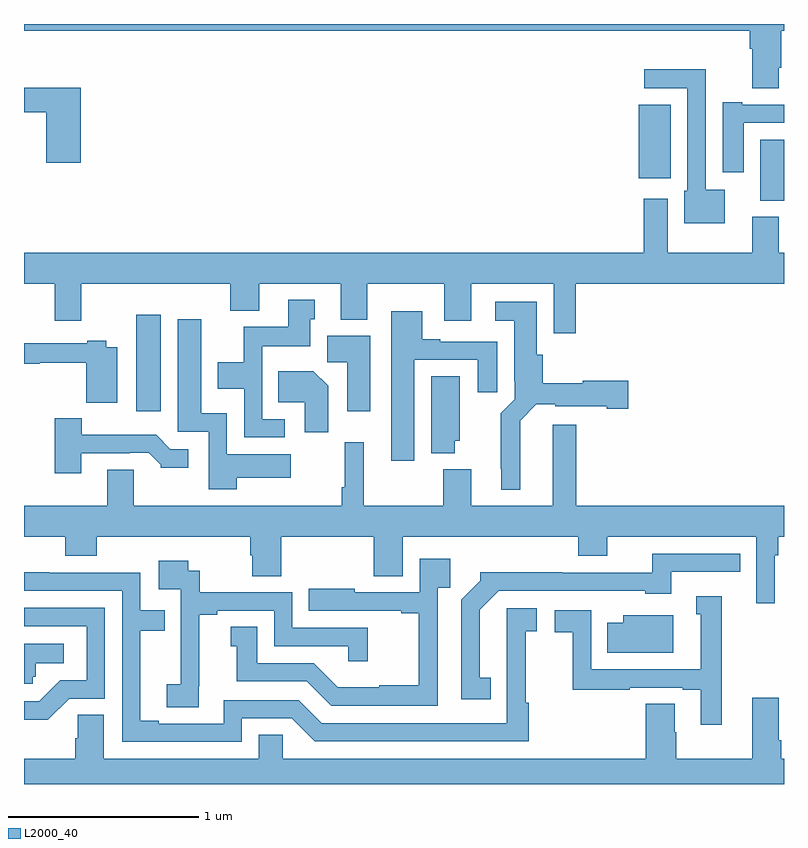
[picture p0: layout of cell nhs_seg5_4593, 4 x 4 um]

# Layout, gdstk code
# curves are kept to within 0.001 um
import gdstk
lib = gdstk.Library(unit=1e-6, precision=1e-09)
def R(c, l, rs):  # rectangles x0, y0, x1, y1
    for r in rs: c.add(gdstk.rectangle(r[:2], r[2:], *l))
def P(c, l, *ps):  # polygons
    for p in ps: c.add(gdstk.Polygon(p, *l))
L2000_40 = (2000, 40)

nhs_seg5_4593 = lib.new_cell('nhs_seg5_4593')
R(nhs_seg5_4593, L2000_40, [(381.59,850.761,381.721,851.269), (384.875,851.87,385,852.19), (384.236,851.987,384.403,852.373)])
P(nhs_seg5_4593, L2000_40, [(384.973,852.568),(384.986,852.568),(384.986,852.764),(385,852.764),(385,852.799),(381,852.799),(381,852.764),(384.821,852.764),(384.821,852.668),(384.833,852.668),(384.833,852.46),(384.973,852.46)],
  [(384.688,851.926),(384.588,851.926),(384.588,852.56),(384.264,852.56),(384.264,852.462),(384.492,852.462),(384.492,851.922),(384.476,851.922),(384.476,851.75),(384.688,851.75)],
  [(381.299,852.463),(381,852.463),(381,852.334),(381.116,852.334),(381.116,852.069),(381.299,852.069)],
  [(384.787,852.279),(385,852.279),(385,852.375),(384.781,852.375),(384.781,852.388),(384.677,852.388),(384.677,852.018),(384.787,852.018)],
  [(383.903,851.432),(385,851.432),(385,851.596),(384.973,851.596),(384.973,851.785),(384.833,851.785),(384.833,851.596),(384.388,851.596),(384.388,851.878),(384.263,851.878),(384.263,851.596),(381,851.596),(381,851.432),(381.161,851.432),(381.161,851.238),(381.301,851.238),(381.301,851.432),(382.085,851.432),(382.085,851.291),(382.237,851.291),(382.237,851.432),(382.667,851.432),(382.667,851.243),(382.807,851.243),(382.807,851.432),(383.213,851.432),(383.213,851.238),(383.353,851.238),(383.353,851.432),(383.787,851.432),(383.787,851.172),(383.903,851.172)],
  [(382.372,850.719),(382.254,850.719),(382.254,851.102),(382.507,851.102),(382.507,851.244),(382.531,851.244),(382.531,851.347),(382.391,851.347),(382.391,851.206),(382.156,851.206),(382.156,851.02),(382.019,851.02),(382.019,850.88),(382.158,850.88),(382.158,850.623),(382.372,850.623)],
  [(383.611,850.712),(383.697,850.799),(383.796,850.799),(383.796,850.787),(384.068,850.787),(384.068,850.775),(384.181,850.775),(384.181,850.922),(383.94,850.922),(383.94,850.909),(383.729,850.909),(383.729,851.058),(383.698,851.058),(383.698,851.338),(383.481,851.338),(383.481,851.237),(383.579,851.237),(383.579,850.918),(383.583,850.918),(383.583,850.824),(383.509,850.75),(383.509,850.459),(383.513,850.459),(383.513,850.349),(383.611,850.349)],
  [(383.053,851.031),(383.387,851.031),(383.387,850.86),(383.491,850.86),(383.491,851.127),(383.191,851.127),(383.191,851.14),(383.095,851.14),(383.095,851.287),(382.934,851.287),(382.934,850.5),(383.053,850.5)],
  [(382.121,850.412),(382.405,850.412),(382.405,850.534),(382.068,850.534),(382.068,850.75),(381.934,850.75),(381.934,851.245),(381.809,851.245),(381.809,850.653),(381.972,850.653),(381.972,850.35),(382.121,850.35)],
  [(382.822,851.158),(382.595,851.158),(382.595,851.02),(382.7,851.02),(382.7,850.761),(382.822,850.761)],
  [(381.49,851.098),(381.432,851.098),(381.432,851.131),(381.332,851.131),(381.332,851.118),(381,851.118),(381,851.01),(381.084,851.01),(381.084,851.017),(381.328,851.017),(381.328,850.805),(381.49,850.805)],
  [(382.6,850.894),(382.522,850.972),(382.339,850.972),(382.339,850.808),(382.478,850.808),(382.478,850.65),(382.6,850.65)],
  [(383.266,850.605),(383.293,850.605),(383.293,850.946),(383.144,850.946),(383.144,850.541),(383.266,850.541)],
  [(381.301,850.539),(381.557,850.539),(381.557,850.542),(381.656,850.542),(381.72,850.478),(381.72,850.463),(381.865,850.463),(381.865,850.56),(381.771,850.56),(381.695,850.636),(381.304,850.636),(381.304,850.723),(381.161,850.723),(381.161,850.434),(381.301,850.434)],
  [(383.783,850.69),(383.783,850.264),(383.353,850.264),(383.353,850.456),(383.206,850.456),(383.206,850.264),(382.789,850.264),(382.789,850.597),(382.687,850.597),(382.687,850.36),(382.672,850.36),(382.672,850.264),(381.577,850.264),(381.577,850.454),(381.437,850.454),(381.437,850.264),(381,850.264),(381,850.1),(381.218,850.1),(381.218,850.001),(381.383,850.001),(381.383,850.1),(382.19,850.1),(382.19,850.002),(382.202,850.002),(382.202,849.892),(382.355,849.892),(382.355,850.1),(382.841,850.1),(382.841,849.892),(382.993,849.892),(382.993,850.1),(383.918,850.1),(383.918,850.001),(384.07,850.001),(384.07,850.1),(384.855,850.1),(384.855,849.75),(384.952,849.75),(384.952,850.004),(384.971,850.004),(384.971,850.1),(385,850.1),(385,850.264),(383.906,850.264),(383.906,850.69)],
  [(383.456,849.359),(383.398,849.359),(383.398,849.715),(383.499,849.816),(384.27,849.816),(384.27,849.8),(384.406,849.8),(384.406,849.915),(384.77,849.915),(384.77,850.011),(384.307,850.011),(384.307,849.912),(383.834,849.912),(383.834,849.914),(383.4,849.914),(383.4,849.869),(383.301,849.77),(383.301,849.246),(383.456,849.246)],
  [(383.178,849.833),(383.243,849.833),(383.243,849.985),(383.082,849.985),(383.082,849.807),(382.741,849.807),(382.741,849.826),(382.498,849.826),(382.498,849.711),(382.985,849.711),(382.985,849.699),(383.077,849.699),(383.077,849.319),(382.871,849.319),(382.871,849.307),(382.652,849.307),(382.524,849.435),(382.228,849.435),(382.228,849.626),(382.088,849.626),(382.088,849.523),(382.121,849.523),(382.121,849.339),(382.488,849.339),(382.617,849.21),(383.178,849.21)],
  [(381.92,849.313),(381.922,849.313),(381.922,849.691),(382.018,849.691),(382.018,849.711),(382.317,849.711),(382.317,849.525),(382.707,849.525),(382.707,849.444),(382.808,849.444),(382.808,849.621),(382.413,849.621),(382.413,849.807),(381.926,849.807),(381.926,849.921),(381.864,849.921),(381.864,849.973),(381.708,849.973),(381.708,849.825),(381.825,849.825),(381.825,849.521),(381.824,849.521),(381.824,849.324),(381.75,849.324),(381.75,849.202),(381.92,849.202)],
  [(382.146,849.144),(382.41,849.144),(382.53,849.024),(383.657,849.024),(383.657,849.227),(383.64,849.227),(383.64,849.603),(383.698,849.603),(383.698,849.724),(383.54,849.724),(383.541,849.12),(382.566,849.12),(382.446,849.24),(382.05,849.24),(382.05,849.117),(381.709,849.117),(381.709,849.132),(381.613,849.132),(381.613,849.606),(381.74,849.606),(381.74,849.714),(381.612,849.714),(381.612,849.912),(381.134,849.912),(381.134,849.914),(381,849.914),(381,849.816),(381.516,849.816),(381.516,849.021),(382.146,849.021)],
  [(384.673,849.787),(384.539,849.787),(384.539,849.693),(384.563,849.693),(384.563,849.402),(383.985,849.402),(383.985,849.714),(383.793,849.714),(383.793,849.598),(383.887,849.598),(383.887,849.294),(384.188,849.294),(384.188,849.306),(384.467,849.306),(384.467,849.294),(384.563,849.294),(384.563,849.111),(384.673,849.111)],
  [(381.237,849.249),(381.426,849.249),(381.426,849.726),(381,849.726),(381,849.63),(381.33,849.63),(381.33,849.345),(381.192,849.345),(381.081,849.234),(381,849.234),(381,849.137),(381.124,849.137)],
  [(384.418,849.688),(384.155,849.688),(384.155,849.649),(384.07,849.649),(384.07,849.491),(384.418,849.491)],
  [(381.045,849.363),(381.063,849.363),(381.063,849.434),(381.208,849.434),(381.208,849.538),(381,849.538),(381,849.327),(381.045,849.327)],
  [(385,848.932),(384.986,848.932),(384.986,849.028),(384.973,849.028),(384.973,849.253),(384.833,849.253),(384.833,848.932),(384.432,848.932),(384.432,849.071),(384.424,849.071),(384.424,849.221),(384.272,849.221),(384.272,848.932),(382.362,848.932),(382.362,849.059),(382.235,849.059),(382.235,848.932),(381.421,848.932),(381.421,849.164),(381.282,849.164),(381.282,849.041),(381.269,849.041),(381.269,848.932),(381,848.932),(381,848.799),(385,848.799)])

lib.write_gds('nhs_seg5_4593.gds')
